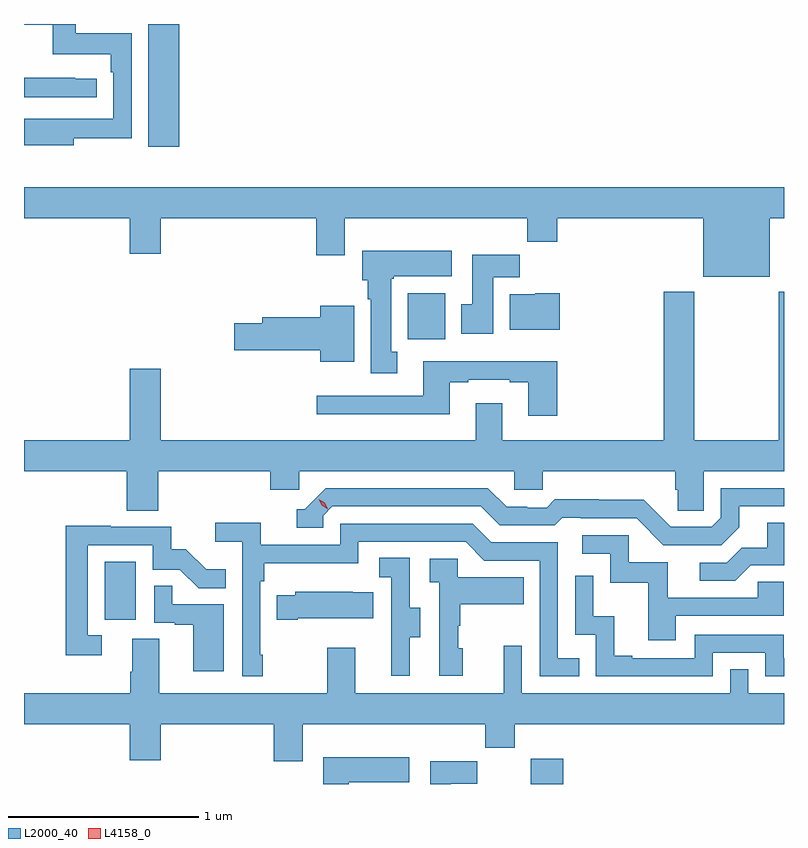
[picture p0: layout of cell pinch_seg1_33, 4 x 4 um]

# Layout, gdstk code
import gdstk
lib = gdstk.Library(unit=1e-6, precision=1e-09)
def R(c, l, rs):  # rectangles x0, y0, x1, y1
    for r in rs: c.add(gdstk.rectangle(r[:2], r[2:], *l))
def P(c, l, *ps):  # polygons
    for p in ps: c.add(gdstk.Polygon(p, *l))
L2000_40 = (2000, 40)
L4158_0 = (4158, 0)

pinch_seg1_33 = lib.new_cell('pinch_seg1_33')
R(pinch_seg1_33, L2000_40, [(1144.142,563.406,1144.313,563.539), (1141.898,564.27,1142.062,564.577), (1143.494,565.748,1143.691,565.99), (1142.129,566.76,1142.29,567.406)])
P(pinch_seg1_33, L2000_40, [(1141.735,566.806),(1142.04,566.806),(1142.04,567.358),(1141.747,567.358),(1141.747,567.406),(1141.474,567.406),(1141.474,567.403),(1141.626,567.403),(1141.626,567.248),(1141.931,567.248),(1141.931,567.152),(1141.944,567.152),(1141.944,566.907),(1141.631,566.907),(1141.631,566.908),(1141.474,566.908),(1141.474,566.768),(1141.735,566.768)],
  [(1141.858,567.117),(1141.745,567.117),(1141.745,567.122),(1141.474,567.122),(1141.474,567.021),(1141.858,567.021)],
  [(1145.398,566.384),(1145.474,566.384),(1145.474,566.548),(1141.474,566.548),(1141.474,566.384),(1142.03,566.384),(1142.03,566.196),(1142.194,566.196),(1142.194,566.384),(1143.011,566.384),(1143.011,566.19),(1143.163,566.19),(1143.163,566.384),(1144.123,566.384),(1144.123,566.26),(1144.28,566.26),(1144.28,566.384),(1145.048,566.384),(1145.048,566.075),(1145.398,566.075)],
  [(1143.439,565.682),(1143.406,565.682),(1143.406,566.065),(1143.42,566.065),(1143.42,566.078),(1143.724,566.078),(1143.724,566.212),(1143.254,566.212),(1143.254,566.058),(1143.284,566.058),(1143.284,565.958),(1143.299,565.958),(1143.299,565.569),(1143.439,565.569)],
  [(1143.943,566.072),(1144.082,566.072),(1144.082,566.191),(1143.833,566.191),(1143.833,565.932),(1143.776,565.932),(1143.776,565.776),(1143.943,565.776)],
  [(1142.18,565.052),(1142.771,565.052),(1142.771,564.954),(1142.922,564.954),(1142.922,565.052),(1144.053,565.052),(1144.053,564.954),(1144.203,564.954),(1144.203,565.052),(1144.901,565.052),(1144.901,564.954),(1144.915,564.954),(1144.915,564.844),(1145.052,564.844),(1145.052,565.052),(1145.474,565.052),(1145.474,565.996),(1145.446,565.996),(1145.446,565.216),(1145.001,565.216),(1145.001,565.996),(1144.841,565.996),(1144.841,565.216),(1143.991,565.216),(1143.991,565.411),(1143.851,565.411),(1143.851,565.216),(1142.194,565.216),(1142.194,565.591),(1142.03,565.591),(1142.03,565.216),(1141.474,565.216),(1141.474,565.052),(1142.015,565.052),(1142.015,564.844),(1142.18,564.844)],
  [(1144.295,565.99),(1144.164,565.99),(1144.164,565.984),(1144.031,565.984),(1144.031,565.796),(1144.295,565.796)],
  [(1143.211,565.924),(1143.032,565.924),(1143.032,565.862),(1142.729,565.862),(1142.729,565.832),(1142.58,565.832),(1142.58,565.69),(1143.032,565.69),(1143.032,565.628),(1143.211,565.628)],
  [(1144.28,565.63),(1143.575,565.63),(1143.575,565.449),(1143.015,565.449),(1143.015,565.352),(1143.715,565.352),(1143.715,565.521),(1143.811,565.521),(1143.811,565.533),(1144.031,565.533),(1144.031,565.521),(1144.127,565.521),(1144.127,565.344),(1144.28,565.344)],
  [(1145.239,564.757),(1145.239,564.867),(1145.474,564.867),(1145.474,564.963),(1145.142,564.963),(1145.142,564.807),(1145.094,564.759),(1144.878,564.759),(1144.736,564.901),(1144.5,564.901),(1144.5,564.904),(1144.267,564.904),(1144.225,564.861),(1144.122,564.861),(1144.122,564.864),(1144.015,564.864),(1143.916,564.963),(1143.063,564.963),(1142.952,564.852),(1142.909,564.852),(1142.909,564.756),(1143.048,564.756),(1143.048,564.819),(1143.096,564.867),(1143.879,564.867),(1143.978,564.768),(1144.267,564.768),(1144.306,564.807),(1144.405,564.807),(1144.405,564.804),(1144.698,564.804),(1144.839,564.663),(1145.145,564.663)],
  [(1142.731,564.085),(1142.718,564.085),(1142.718,564.473),(1142.738,564.473),(1142.738,564.569),(1143.234,564.569),(1143.234,564.681),(1143.798,564.681),(1143.897,564.582),(1144.188,564.582),(1144.188,563.973),(1144.397,563.973),(1144.397,564.069),(1144.284,564.069),(1144.284,564.678),(1143.934,564.678),(1143.835,564.777),(1143.138,564.777),(1143.138,564.666),(1142.72,564.666),(1142.72,564.782),(1142.481,564.782),(1142.481,564.68),(1142.622,564.68),(1142.622,563.973),(1142.731,563.973)],
  [(1145.299,564.558),(1145.474,564.558),(1145.474,564.782),(1145.387,564.782),(1145.387,564.65),(1145.252,564.65),(1145.172,564.57),(1145.031,564.57),(1145.031,564.477),(1145.218,564.477)],
  [(1141.882,564.189),(1141.809,564.189),(1141.809,564.663),(1142.151,564.663),(1142.151,564.534),(1142.295,564.534),(1142.393,564.436),(1142.537,564.436),(1142.537,564.535),(1142.433,564.535),(1142.326,564.642),(1142.25,564.642),(1142.25,564.759),(1141.931,564.759),(1141.931,564.764),(1141.693,564.764),(1141.693,564.084),(1141.882,564.084)],
  [(1144.903,564.291),(1145.472,564.291),(1145.472,564.471),(1145.335,564.471),(1145.335,564.387),(1144.861,564.387),(1144.861,564.573),(1144.656,564.573),(1144.656,564.714),(1144.413,564.714),(1144.413,564.618),(1144.56,564.618),(1144.56,564.465),(1144.759,564.465),(1144.759,564.162),(1144.903,564.162)],
  [(1143.505,564.178),(1143.559,564.178),(1143.559,564.333),(1143.504,564.333),(1143.504,564.596),(1143.345,564.596),(1143.345,564.493),(1143.408,564.493),(1143.408,564.189),(1143.407,564.189),(1143.407,563.976),(1143.505,563.976)],
  [(1143.784,564.12),(1143.759,564.12),(1143.759,564.239),(1143.769,564.239),(1143.769,564.353),(1144.103,564.353),(1144.103,564.493),(1143.756,564.493),(1143.756,564.591),(1143.609,564.591),(1143.609,564.467),(1143.66,564.467),(1143.66,563.976),(1143.784,563.976)],
  [(1145.1,564.096),(1145.376,564.096),(1145.376,563.973),(1145.474,563.973),(1145.474,564.069),(1145.472,564.069),(1145.472,564.192),(1145.004,564.192),(1145.004,564.069),(1144.675,564.069),(1144.675,564.082),(1144.58,564.082),(1144.58,564.29),(1144.47,564.29),(1144.47,564.502),(1144.374,564.502),(1144.374,564.192),(1144.482,564.192),(1144.482,563.973),(1145.1,563.973)],
  [(1142.524,564.351),(1142.255,564.351),(1142.255,564.449),(1142.16,564.449),(1142.16,564.255),(1142.267,564.255),(1142.267,564.243),(1142.366,564.243),(1142.366,564),(1142.524,564)],
  [(1142.914,564.278),(1143.311,564.278),(1143.311,564.415),(1143.203,564.415),(1143.203,564.418),(1142.901,564.418),(1142.901,564.4),(1142.803,564.4),(1142.803,564.271),(1142.914,564.271)],
  [(1142.941,563.72),(1143.901,563.72),(1143.901,563.596),(1144.058,563.596),(1144.058,563.72),(1145.474,563.72),(1145.474,563.884),(1145.286,563.884),(1145.286,564.011),(1145.19,564.011),(1145.19,563.884),(1144.095,563.884),(1144.095,564.133),(1143.998,564.133),(1143.998,563.884),(1143.217,563.884),(1143.217,564.124),(1143.07,564.124),(1143.07,563.884),(1142.185,563.884),(1142.185,564.17),(1142.045,564.17),(1142.045,563.996),(1142.033,563.996),(1142.033,563.884),(1141.474,563.884),(1141.474,563.72),(1142.03,563.72),(1142.03,563.532),(1142.194,563.532),(1142.194,563.72),(1142.789,563.72),(1142.789,563.526),(1142.941,563.526)],
  [(1143.184,563.414),(1143.502,563.414),(1143.502,563.548),(1143.05,563.548),(1143.05,563.406),(1143.184,563.406)],
  [(1143.721,563.408),(1143.86,563.408),(1143.86,563.527),(1143.611,563.527),(1143.611,563.406),(1143.721,563.406)])
P(pinch_seg1_33, L4158_0, [(1143.072,564.853),(1143.042,564.873),(1143.026,564.906),(1143.026,564.906),(1143.026,564.906),(1143.057,564.886),(1143.073,564.854),(1143.073,564.853)])

lib.write_gds('pinch_seg1_33.gds')
